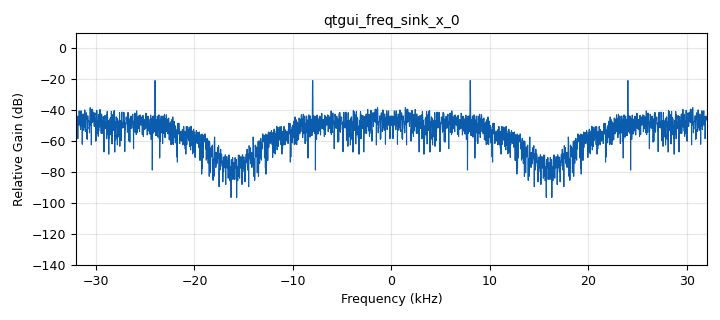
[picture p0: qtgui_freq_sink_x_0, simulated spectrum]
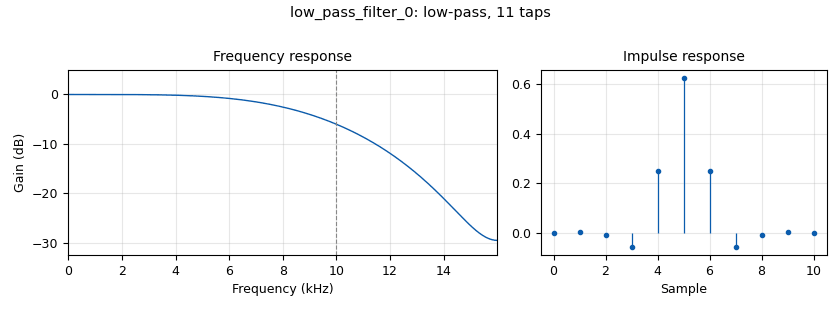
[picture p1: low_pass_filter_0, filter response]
<?xml version='1.0' encoding='utf-8'?>
<?grc format='1' created='3.7.13'?>
<flow_graph>
<block>
<key>options</key>
<param><key>id</key><value>top_block</value></param>
<param><key>generate_options</key><value>qt_gui</value></param>
</block>
<block>
<key>variable</key>
<param><key>id</key><value>N</value></param>
<param><key>value</key><value>2</value></param>
</block>
<block>
<key>variable_qtgui_range</key>
<param><key>id</key><value>f_LO</value></param>
<param><key>value</key><value>0</value></param>
<param><key>orient</key><value>Qt.Horizontal</value></param>
<param><key>start</key><value>-samp_rate / 2</value></param>
<param><key>step</key><value>200</value></param>
<param><key>stop</key><value>samp_rate / 2</value></param>
</block>
<block>
<key>variable</key>
<param><key>id</key><value>samp_rate</value></param>
<param><key>value</key><value>32000</value></param>
</block>
<block>
<key>analog_const_source_x</key>
<param><key>id</key><value>analog_const_source_x_0</value></param>
<param><key>const</key><value>0</value></param>
<param><key>type</key><value>float</value></param>
</block>
<block>
<key>analog_noise_source_x</key>
<param><key>id</key><value>analog_noise_source_x_0</value></param>
<param><key>amp</key><value>1</value></param>
<param><key>noise_type</key><value>analog.GR_GAUSSIAN</value></param>
<param><key>type</key><value>float</value></param>
<param><key>seed</key><value>0</value></param>
</block>
<block>
<key>analog_sig_source_x</key>
<param><key>id</key><value>analog_sig_source_x_0</value></param>
<param><key>amp</key><value>1</value></param>
<param><key>freq</key><value>samp_rate / 4</value></param>
<param><key>offset</key><value>0</value></param>
<param><key>type</key><value>float</value></param>
<param><key>samp_rate</key><value>samp_rate</value></param>
<param><key>waveform</key><value>analog.GR_COS_WAVE</value></param>
</block>
<block>
<key>analog_sig_source_x</key>
<param><key>id</key><value>analog_sig_source_x_1</value></param>
<param><key>amp</key><value>1</value></param>
<param><key>freq</key><value>f_LO</value></param>
<param><key>offset</key><value>0</value></param>
<param><key>type</key><value>complex</value></param>
<param><key>samp_rate</key><value>samp_rate</value></param>
<param><key>waveform</key><value>analog.GR_COS_WAVE</value></param>
</block>
<block>
<key>blocks_add_xx</key>
<param><key>id</key><value>blocks_add_xx_0</value></param>
<param><key>type</key><value>float</value></param>
</block>
<block>
<key>blocks_float_to_complex</key>
<param><key>id</key><value>blocks_float_to_complex_0</value></param>
</block>
<block>
<key>blocks_multiply_xx</key>
<param><key>id</key><value>blocks_multiply_xx_0</value></param>
<param><key>type</key><value>complex</value></param>
</block>
<block>
<key>blocks_throttle</key>
<param><key>id</key><value>blocks_throttle_0</value></param>
<param><key>samples_per_second</key><value>samp_rate</value></param>
<param><key>type</key><value>float</value></param>
</block>
<block>
<key>interp_fir_filter_xxx</key>
<param><key>id</key><value>interp_fir_filter_xxx_0</value></param>
<param><key>interp</key><value>N</value></param>
<param><key>taps</key><value>1</value></param>
<param><key>type</key><value>ccc</value></param>
</block>
<block>
<key>low_pass_filter</key>
<param><key>id</key><value>low_pass_filter_0</value></param>
<param><key>cutoff_freq</key><value>10e3</value></param>
<param><key>decim</key><value>1</value></param>
<param><key>type</key><value>fir_filter_fff</value></param>
<param><key>gain</key><value>1</value></param>
<param><key>samp_rate</key><value>samp_rate</value></param>
<param><key>width</key><value>10e3</value></param>
<param><key>win</key><value>firdes.WIN_BLACKMAN</value></param>
</block>
<block>
<key>qtgui_freq_sink_x</key>
<param><key>id</key><value>qtgui_freq_sink_x_0</value></param>
<param><key>bw</key><value>samp_rate * N</value></param>
<param><key>fc</key><value>0</value></param>
<param><key>ctrlpanel</key><value>True</value></param>
<param><key>fftsize</key><value>4096</value></param>
<param><key>grid</key><value>True</value></param>
<param><key>showports</key><value>True</value></param>
<param><key>type</key><value>complex</value></param>
<param><key>wintype</key><value>firdes.WIN_BLACKMAN_hARRIS</value></param>
</block>
<connection><source_block_id>analog_const_source_x_0</source_block_id><sink_block_id>blocks_float_to_complex_0</sink_block_id><source_key>0</source_key><sink_key>1</sink_key></connection>
<connection><source_block_id>analog_noise_source_x_0</source_block_id><sink_block_id>low_pass_filter_0</sink_block_id><source_key>0</source_key><sink_key>0</sink_key></connection>
<connection><source_block_id>analog_sig_source_x_0</source_block_id><sink_block_id>blocks_throttle_0</sink_block_id><source_key>0</source_key><sink_key>0</sink_key></connection>
<connection><source_block_id>analog_sig_source_x_1</source_block_id><sink_block_id>blocks_multiply_xx_0</sink_block_id><source_key>0</source_key><sink_key>1</sink_key></connection>
<connection><source_block_id>blocks_add_xx_0</source_block_id><sink_block_id>blocks_float_to_complex_0</sink_block_id><source_key>0</source_key><sink_key>0</sink_key></connection>
<connection><source_block_id>blocks_float_to_complex_0</source_block_id><sink_block_id>blocks_multiply_xx_0</sink_block_id><source_key>0</source_key><sink_key>0</sink_key></connection>
<connection><source_block_id>blocks_multiply_xx_0</source_block_id><sink_block_id>interp_fir_filter_xxx_0</sink_block_id><source_key>0</source_key><sink_key>0</sink_key></connection>
<connection><source_block_id>blocks_throttle_0</source_block_id><sink_block_id>blocks_add_xx_0</sink_block_id><source_key>0</source_key><sink_key>1</sink_key></connection>
<connection><source_block_id>interp_fir_filter_xxx_0</source_block_id><sink_block_id>qtgui_freq_sink_x_0</sink_block_id><source_key>0</source_key><sink_key>0</sink_key></connection>
<connection><source_block_id>low_pass_filter_0</source_block_id><sink_block_id>blocks_add_xx_0</sink_block_id><source_key>0</source_key><sink_key>0</sink_key></connection>
</flow_graph>
